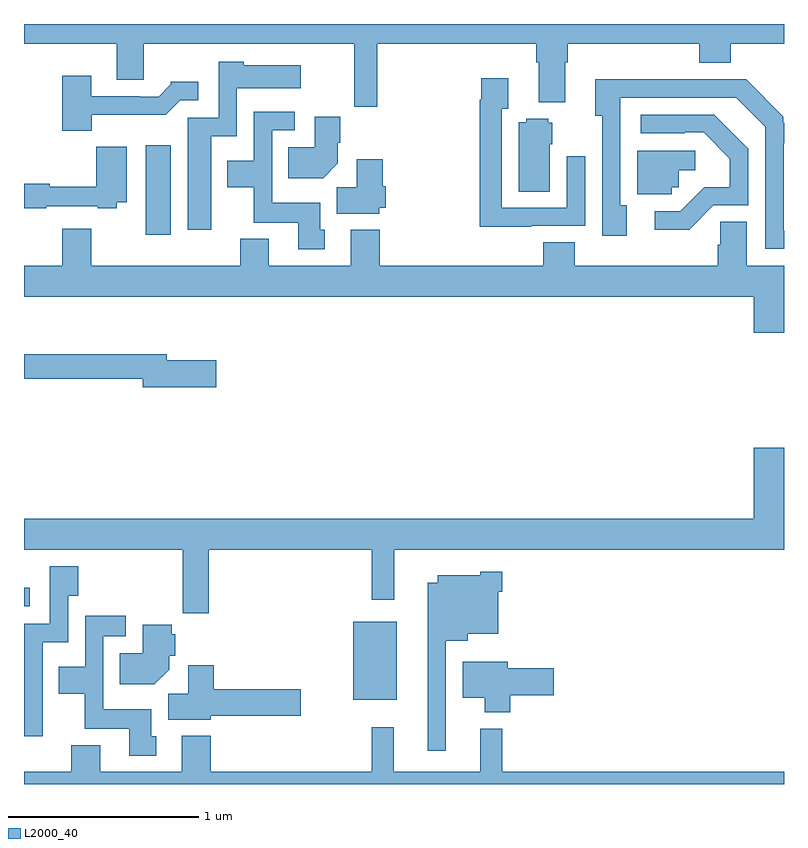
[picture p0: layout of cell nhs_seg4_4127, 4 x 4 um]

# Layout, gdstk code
import gdstk
lib = gdstk.Library(unit=1e-6, precision=1e-09)
def R(c, l, rs):  # rectangles x0, y0, x1, y1
    for r in rs: c.add(gdstk.rectangle(r[:2], r[2:], *l))
def P(c, l, *ps):  # polygons
    for p in ps: c.add(gdstk.Polygon(p, *l))
L2000_40 = (2000, 40)

nhs_seg4_4127 = lib.new_cell('nhs_seg4_4127')
R(nhs_seg4_4127, L2000_40, [(330.734,817.343,330.961,817.753), (329,817.836,329.029,817.933), (329.642,819.792,329.773,820.261)])
P(nhs_seg4_4127, L2000_40, [(330.86,820.796),(331.697,820.796),(331.697,820.7),(331.709,820.7),(331.709,820.487),(331.849,820.487),(331.849,820.7),(331.862,820.7),(331.862,820.796),(332.555,820.796),(332.555,820.697),(332.72,820.697),(332.72,820.796),(333,820.796),(333,820.9),(329,820.9),(329,820.796),(329.489,820.796),(329.489,820.606),(329.629,820.606),(329.629,820.796),(330.739,820.796),(330.739,820.464),(330.86,820.464)],
  [(329.986,820.31),(330.12,820.31),(330.12,820.562),(330.457,820.562),(330.457,820.684),(330.156,820.684),(330.156,820.702),(330.024,820.702),(330.024,820.407),(329.861,820.407),(329.861,819.816),(329.986,819.816)],
  [(329.356,820.422),(329.745,820.422),(329.823,820.5),(329.917,820.5),(329.917,820.597),(329.772,820.597),(329.772,820.582),(329.708,820.518),(329.609,820.518),(329.609,820.521),(329.353,820.521),(329.353,820.627),(329.201,820.627),(329.201,820.337),(329.356,820.337)],
  [(331.669,819.837),(331.953,819.837),(331.953,820.204),(331.857,820.204),(331.857,819.933),(331.515,819.933),(331.515,820.454),(331.549,820.454),(331.549,820.615),(331.407,820.615),(331.407,820.502),(331.399,820.502),(331.399,819.833),(331.669,819.833)],
  [(333,819.813),(332.998,819.813),(332.998,820.272),(333,820.272),(333,820.381),(332.997,820.381),(332.997,820.413),(332.802,820.608),(332.471,820.608),(332.471,820.61),(332.006,820.61),(332.006,820.418),(332.043,820.418),(332.043,819.786),(332.173,819.786),(332.173,819.946),(332.139,819.946),(332.139,820.512),(332.748,820.512),(332.901,820.359),(332.901,819.717),(333,819.717)],
  [(330.583,819.816),(330.559,819.816),(330.559,819.958),(330.306,819.958),(330.306,820.341),(330.424,820.341),(330.424,820.437),(330.21,820.437),(330.21,820.18),(330.071,820.18),(330.071,820.04),(330.208,820.04),(330.208,819.854),(330.443,819.854),(330.443,819.714),(330.583,819.714)],
  [(332.628,819.945),(332.811,819.945),(332.811,820.243),(332.632,820.422),(332.247,820.422),(332.247,820.326),(332.477,820.326),(332.477,820.329),(332.577,820.329),(332.714,820.192),(332.714,820.042),(332.581,820.042),(332.454,819.915),(332.319,819.915),(332.319,819.818),(332.5,819.818)],
  [(330.652,820.166),(330.652,820.276),(330.665,820.276),(330.665,820.411),(330.53,820.411),(330.53,820.252),(330.391,820.252),(330.391,820.088),(330.574,820.088)],
  [(331.768,820.266),(331.78,820.266),(331.78,820.38),(331.758,820.38),(331.758,820.402),(331.644,820.402),(331.644,820.384),(331.604,820.384),(331.604,820.018),(331.768,820.018)],
  [(329.117,819.942),(329.387,819.942),(329.387,819.93),(329.487,819.93),(329.487,819.962),(329.542,819.962),(329.542,820.255),(329.38,820.255),(329.38,820.043),(329.136,820.043),(329.136,820.058),(329,820.058),(329,819.93),(329.117,819.93)],
  [(332.409,820.041),(332.445,820.041),(332.445,820.13),(332.533,820.13),(332.533,820.233),(332.228,820.233),(332.228,820.005),(332.409,820.005)],
  [(330.87,819.933),(330.905,819.933),(330.905,820.047),(330.887,820.047),(330.887,820.189),(330.752,820.189),(330.752,820.04),(330.647,820.04),(330.647,819.902),(330.87,819.902)],
  [(329.201,819.823),(329.201,819.628),(329,819.628),(329,819.464),(332.84,819.464),(332.84,819.276),(333,819.276),(333,819.628),(332.803,819.628),(332.803,819.86),(332.665,819.86),(332.665,819.738),(332.651,819.738),(332.651,819.628),(331.898,819.628),(331.898,819.752),(331.733,819.752),(331.733,819.628),(330.872,819.628),(330.872,819.817),(330.719,819.817),(330.719,819.628),(330.289,819.628),(330.289,819.769),(330.137,819.769),(330.137,819.628),(329.353,819.628),(329.353,819.823)],
  [(330.013,819.129),(329.752,819.129),(329.752,819.163),(329,819.163),(329,819.034),(329.624,819.034),(329.624,818.987),(330.013,818.987)],
  [(329.972,818.132),(330.829,818.132),(330.829,817.869),(330.948,817.869),(330.948,818.132),(333,818.132),(333,818.671),(332.84,818.671),(332.84,818.296),(329,818.296),(329,818.132),(329.836,818.132),(329.836,817.8),(329.972,817.8)],
  [(329.098,817.646),(329.232,817.646),(329.232,817.891),(329.285,817.891),(329.285,818.047),(329.136,818.047),(329.136,817.743),(329,817.743),(329,817.152),(329.098,817.152)],
  [(331.221,817.655),(331.336,817.655),(331.336,817.691),(331.495,817.691),(331.495,817.913),(331.517,817.913),(331.517,818.017),(331.401,818.017),(331.401,817.999),(331.178,817.999),(331.178,817.96),(331.124,817.96),(331.124,817.074),(331.221,817.074)],
  [(329.695,817.152),(329.671,817.152),(329.671,817.294),(329.418,817.294),(329.418,817.677),(329.536,817.677),(329.536,817.786),(329.322,817.786),(329.322,817.516),(329.183,817.516),(329.183,817.376),(329.32,817.376),(329.32,817.19),(329.555,817.19),(329.555,817.05),(329.695,817.05)],
  [(329.764,817.502),(329.764,817.575),(329.795,817.575),(329.795,817.689),(329.777,817.689),(329.777,817.738),(329.624,817.738),(329.624,817.588),(329.503,817.588),(329.503,817.424),(329.686,817.424)],
  [(331.559,817.366),(331.789,817.366),(331.789,817.508),(331.546,817.508),(331.546,817.543),(331.31,817.543),(331.31,817.355),(331.424,817.355),(331.424,817.277),(331.559,817.277)],
  [(329.982,817.258),(330.457,817.258),(330.457,817.4),(329.999,817.4),(329.999,817.525),(329.864,817.525),(329.864,817.376),(329.759,817.376),(329.759,817.238),(329.982,817.238)],
  [(333,816.964),(331.517,816.964),(331.517,817.192),(331.4,817.192),(331.4,816.964),(330.947,816.964),(330.947,817.198),(330.829,817.198),(330.829,816.964),(329.984,816.964),(329.984,817.153),(329.831,817.153),(329.831,816.964),(329.401,816.964),(329.401,817.105),(329.249,817.105),(329.249,816.964),(329,816.964),(329,816.9),(333,816.9)])

lib.write_gds('nhs_seg4_4127.gds')
